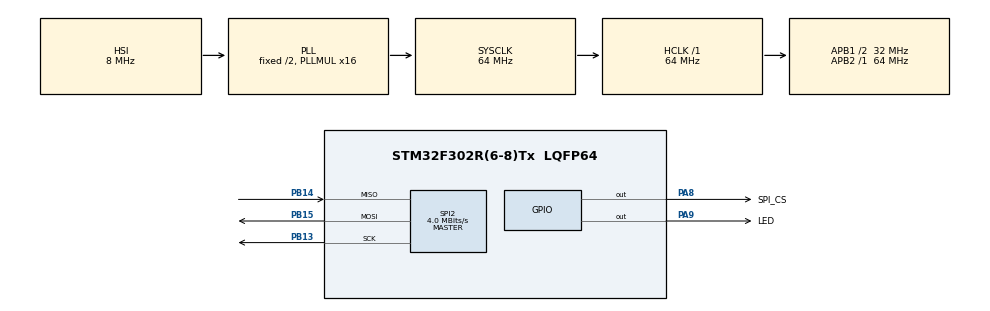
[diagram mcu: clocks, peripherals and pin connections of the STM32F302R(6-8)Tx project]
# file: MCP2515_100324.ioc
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Mcu.Family=STM32F3
Mcu.Name=STM32F302R(6-8)Tx
Mcu.Package=LQFP64
NVIC.PriorityGroup=NVIC_PRIORITYGROUP_4
PA13.Mode=Serial_Wire
PA13.Signal=SYS_JTMS-SWDIO
PA14.Mode=Serial_Wire
PA14.Signal=SYS_JTCK-SWCLK
PA8.GPIO_Label=SPI_CS
PA8.PinState=GPIO_PIN_SET
PA8.Signal=GPIO_Output
PA9.GPIO_Label=LED
PA9.PinState=GPIO_PIN_RESET
PA9.Signal=GPIO_Output
PB13.Mode=Full_Duplex_Master
PB13.Signal=SPI2_SCK
PB14.Mode=Full_Duplex_Master
PB14.Signal=SPI2_MISO
PB15.Mode=Full_Duplex_Master
PB15.Signal=SPI2_MOSI
PF0-OSC_IN.Mode=HSE-External-Oscillator
PF0-OSC_IN.Signal=RCC_OSC_IN
PF1-OSC_OUT.Mode=HSE-External-Oscillator
PF1-OSC_OUT.Signal=RCC_OSC_OUT
ProjectManager.HeapSize=0x200
ProjectManager.StackSize=0x400
ProjectManager.TargetToolchain=STM32CubeIDE
RCC.AHBFreq_Value=64000000
RCC.APB1CLKDivider=RCC_HCLK_DIV2
RCC.APB1Freq_Value=32000000
RCC.APB1TimFreq_Value=64000000
RCC.APB2Freq_Value=64000000
RCC.APB2TimFreq_Value=64000000
RCC.CortexFreq_Value=64000000
RCC.HCLKFreq_Value=64000000
RCC.HSI_VALUE=8000000
RCC.LSE_VALUE=32768
RCC.PLLMUL=RCC_PLL_MUL16
RCC.RCC_PLLsource_Clock_Source_FROM_HSE=RCC_HSE_PREDIV_DIV2
RCC.SYSCLKFreq_VALUE=64000000
RCC.SYSCLKSourceVirtual=RCC_SYSCLKSOURCE_PLLCLK
RCC.USBFreq_Value=64000000
SPI2.BaudRatePrescaler=SPI_BAUDRATEPRESCALER_8
SPI2.CalculateBaudRate=4.0 MBits/s
SPI2.DataSize=SPI_DATASIZE_8BIT
SPI2.Direction=SPI_DIRECTION_2LINES
SPI2.Mode=SPI_MODE_MASTER
SPI2.VirtualType=VM_MASTER
board=custom

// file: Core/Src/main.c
/* USER CODE BEGIN Header */
/**
  ******************************************************************************
  * @file           : main.c
  * @brief          : Main program body
  ******************************************************************************
  * @attention
  *
  * Copyright (c) 2024 STMicroelectronics.
  * All rights reserved.
  *
  * This software is licensed under terms that can be found in the LICENSE file
  * in the root directory of this software component.
  * If no LICENSE file comes with this software, it is provided AS-IS.
  *
  ******************************************************************************
  */
/* USER CODE END Header */
#include "main.h"

/* USER CODE BEGIN Includes */
#include "stm32f3xx_hal.h"
#include "CAN_SPI.h"
/* USER CODE END Includes */

SPI_HandleTypeDef hspi2;

/* USER CODE BEGIN PV */
uCAN_MSG txMessage;
uCAN_MSG RxMessage;
/* USER CODE END PV */

void SystemClock_Config(void);
static void MX_GPIO_Init(void);
static void MX_SPI2_Init(void);

int main(void)
{

  /* MCU Configuration--------------------------------------------------------*/

  /* Reset of all peripherals, Initializes the Flash interface and the Systick. */
  HAL_Init();

  /* Configure the system clock */
  SystemClock_Config();

  /* Initialize all configured peripherals */
  MX_GPIO_Init();
  MX_SPI2_Init();
  /* USER CODE BEGIN 2 */
  HAL_GPIO_WritePin(LED_GPIO_Port, LED_Pin, GPIO_PIN_RESET);

  int ret;
  ret = CANSPI_Initialize();
  if(ret < 0){
	 HAL_GPIO_WritePin(LED_GPIO_Port, LED_Pin, GPIO_PIN_SET);
	 while(1){}
  }
  /* USER CODE END 2 */

  /* Infinite loop */
  while (1)
  {

    /* USER CODE BEGIN 3 */
	  if(CANSPI_Receive(&RxMessage)){
			  if(RxMessage.frame.id == 0x36){
				  if(RxMessage.frame.data0 == 1){
					HAL_GPIO_WritePin(LED_GPIO_Port, LED_Pin, GPIO_PIN_SET);
				  }else{
					  HAL_GPIO_WritePin(LED_GPIO_Port, LED_Pin, GPIO_PIN_RESET);
				   }
			  }
		  }

	  HAL_Delay(100);
	  txMessage.frame.idType = RxMessage.frame.idType;
	  txMessage.frame.id = 0x0A;
	  txMessage.frame.dlc = 8;
	  txMessage.frame.data0 = 0;
	  txMessage.frame.data1 = 1;
	  txMessage.frame.data2 = 2;
	  txMessage.frame.data3 = 3;
	  txMessage.frame.data4 = 4;
	  txMessage.frame.data5 = 5;
	  txMessage.frame.data6 = 6;
	  txMessage.frame.data7 = 7;
	  CANSPI_Transmit(&txMessage);
  }
  /* USER CODE END 3 */
}

void SystemClock_Config(void)
{
  RCC_OscInitTypeDef RCC_OscInitStruct = {0};
  RCC_ClkInitTypeDef RCC_ClkInitStruct = {0};

  /** Initializes the RCC Oscillators according to the specified parameters
  * in the RCC_OscInitTypeDef structure.
  */
  RCC_OscInitStruct.OscillatorType = RCC_OSCILLATORTYPE_HSI;
  RCC_OscInitStruct.HSIState = RCC_HSI_ON;
  RCC_OscInitStruct.HSICalibrationValue = RCC_HSICALIBRATION_DEFAULT;
  RCC_OscInitStruct.PLL.PLLState = RCC_PLL_ON;
  RCC_OscInitStruct.PLL.PLLSource = RCC_PLLSOURCE_HSI;
  RCC_OscInitStruct.PLL.PLLMUL = RCC_PLL_MUL16;
  if (HAL_RCC_OscConfig(&RCC_OscInitStruct) != HAL_OK)
  {
    Error_Handler();
  }

  /** Initializes the CPU, AHB and APB buses clocks
  */
  RCC_ClkInitStruct.ClockType = RCC_CLOCKTYPE_HCLK|RCC_CLOCKTYPE_SYSCLK
                              |RCC_CLOCKTYPE_PCLK1|RCC_CLOCKTYPE_PCLK2;
  RCC_ClkInitStruct.SYSCLKSource = RCC_SYSCLKSOURCE_PLLCLK;
  RCC_ClkInitStruct.AHBCLKDivider = RCC_SYSCLK_DIV1;
  RCC_ClkInitStruct.APB1CLKDivider = RCC_HCLK_DIV2;
  RCC_ClkInitStruct.APB2CLKDivider = RCC_HCLK_DIV1;

  if (HAL_RCC_ClockConfig(&RCC_ClkInitStruct, FLASH_LATENCY_2) != HAL_OK)
  {
    Error_Handler();
  }
}

static void MX_SPI2_Init(void)
{

  /* SPI2 parameter configuration*/
  hspi2.Instance = SPI2;
  hspi2.Init.Mode = SPI_MODE_MASTER;
  hspi2.Init.Direction = SPI_DIRECTION_2LINES;
  hspi2.Init.DataSize = SPI_DATASIZE_8BIT;
  hspi2.Init.CLKPolarity = SPI_POLARITY_LOW;
  hspi2.Init.CLKPhase = SPI_PHASE_1EDGE;
  hspi2.Init.NSS = SPI_NSS_SOFT;
  hspi2.Init.BaudRatePrescaler = SPI_BAUDRATEPRESCALER_8;
  hspi2.Init.FirstBit = SPI_FIRSTBIT_MSB;
  hspi2.Init.TIMode = SPI_TIMODE_DISABLE;
  hspi2.Init.CRCCalculation = SPI_CRCCALCULATION_DISABLE;
  hspi2.Init.CRCPolynomial = 7;
  hspi2.Init.CRCLength = SPI_CRC_LENGTH_DATASIZE;
  hspi2.Init.NSSPMode = SPI_NSS_PULSE_ENABLE;
  if (HAL_SPI_Init(&hspi2) != HAL_OK)
  {
    Error_Handler();
  }

}

static void MX_GPIO_Init(void)
{
  GPIO_InitTypeDef GPIO_InitStruct = {0};

  /* GPIO Ports Clock Enable */
  __HAL_RCC_GPIOF_CLK_ENABLE();
  __HAL_RCC_GPIOB_CLK_ENABLE();
  __HAL_RCC_GPIOA_CLK_ENABLE();

  /*Configure GPIO pin Output Level */
  HAL_GPIO_WritePin(SPI_CS_GPIO_Port, SPI_CS_Pin, GPIO_PIN_SET);

  /*Configure GPIO pin Output Level */
  HAL_GPIO_WritePin(LED_GPIO_Port, LED_Pin, GPIO_PIN_RESET);

  /*Configure GPIO pins : SPI_CS_Pin LED_Pin */
  GPIO_InitStruct.Pin = SPI_CS_Pin|LED_Pin;
  GPIO_InitStruct.Mode = GPIO_MODE_OUTPUT_PP;
  GPIO_InitStruct.Pull = GPIO_NOPULL;
  GPIO_InitStruct.Speed = GPIO_SPEED_FREQ_LOW;
  HAL_GPIO_Init(GPIOA, &GPIO_InitStruct);

}

void Error_Handler(void)
{
  __disable_irq();
  while (1)
  {
  }
}
